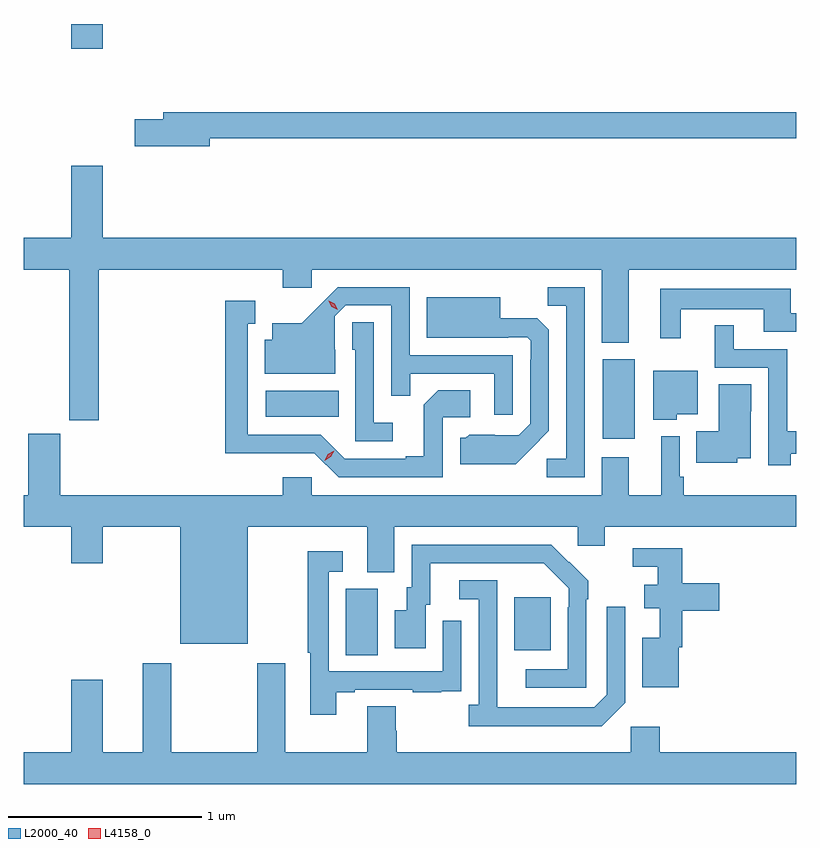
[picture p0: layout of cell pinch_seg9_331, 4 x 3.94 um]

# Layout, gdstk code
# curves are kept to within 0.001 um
import gdstk
lib = gdstk.Library(unit=1e-6, precision=1e-09)
def R(c, l, rs):  # rectangles x0, y0, x1, y1
    for r in rs: c.add(gdstk.rectangle(r[:2], r[2:], *l))
def P(c, l, *ps):  # polygons
    for p in ps: c.add(gdstk.Polygon(p, *l))
L2000_40 = (2000, 40)
L4158_0 = (4158, 0)

pinch_seg9_331 = lib.new_cell('pinch_seg9_331')
R(pinch_seg9_331, L2000_40, [(621.974,1202.416,622.138,1202.76), (622.847,1202.441,623.035,1202.716), (623.303,1203.537,623.47,1203.949), (621.558,1203.65,621.938,1203.784), (620.552,1205.556,620.716,1205.684)])
P(pinch_seg9_331, L2000_40, [(621.268,1205.092),(624.306,1205.092),(624.306,1205.228),(621.029,1205.228),(621.029,1205.192),(620.88,1205.192),(620.88,1205.05),(621.268,1205.05)],
  [(620.693,1204.412),(621.647,1204.412),(621.647,1204.317),(621.798,1204.317),(621.798,1204.412),(623.3,1204.412),(623.3,1204.034),(623.44,1204.034),(623.44,1204.412),(624.306,1204.412),(624.306,1204.576),(620.716,1204.576),(620.716,1204.951),(620.552,1204.951),(620.552,1204.576),(620.306,1204.576),(620.306,1204.412),(620.54,1204.412),(620.54,1203.633),(620.693,1203.633)],
  [(622.839,1203.969),(622.305,1203.969),(622.305,1204.32),(621.932,1204.32),(621.745,1204.135),(621.593,1204.135),(621.593,1204.048),(621.554,1204.048),(621.554,1203.872),(621.919,1203.872),(621.919,1203.996),(621.915,1203.996),(621.915,1204.17),(621.972,1204.227),(622.209,1204.227),(622.209,1203.76),(622.307,1203.76),(622.307,1203.873),(622.743,1203.873),(622.743,1203.66),(622.839,1203.66)],
  [(623.211,1204.32),(623.02,1204.32),(623.02,1204.225),(623.115,1204.225),(623.115,1203.432),(623.013,1203.432),(623.013,1203.336),(623.211,1203.336)],
  [(623.707,1204.208),(624.137,1204.208),(624.137,1204.089),(624.306,1204.089),(624.306,1204.185),(624.277,1204.185),(624.277,1204.312),(623.603,1204.312),(623.603,1204.056),(623.707,1204.056)],
  [(622.933,1203.485),(623.025,1203.578),(623.025,1204.1),(622.966,1204.159),(622.774,1204.159),(622.774,1204.27),(622.394,1204.27),(622.394,1204.058),(622.814,1204.058),(622.814,1204.062),(622.914,1204.062),(622.932,1204.044),(622.932,1203.944),(622.929,1203.944),(622.929,1203.615),(622.869,1203.555),(622.612,1203.556),(622.596,1203.54),(622.565,1203.54),(622.565,1203.404),(622.853,1203.404)],
  [(622.476,1203.648),(622.618,1203.648),(622.618,1203.788),(622.453,1203.788),(622.377,1203.712),(622.377,1203.445),(622.283,1203.445),(622.283,1203.432),(621.969,1203.432),(621.843,1203.558),(621.466,1203.558),(621.466,1204.131),(621.505,1204.131),(621.505,1204.252),(621.348,1204.252),(621.348,1203.461),(621.81,1203.462),(621.936,1203.336),(622.476,1203.336)],
  [(622.216,1203.619),(622.119,1203.619),(622.119,1204.139),(622.008,1204.139),(622.008,1203.996),(622.023,1203.996),(622.023,1203.522),(622.216,1203.522)],
  [(624.278,1203.458),(624.306,1203.458),(624.306,1203.575),(624.26,1203.575),(624.26,1203.999),(623.983,1203.999),(623.983,1204.123),(623.885,1204.123),(623.885,1203.903),(624.162,1203.903),(624.162,1203.399),(624.278,1203.399)],
  [(623.688,1203.662),(623.797,1203.662),(623.797,1203.889),(623.567,1203.889),(623.567,1203.635),(623.688,1203.635)],
  [(624,1203.434),(624.07,1203.434),(624.07,1203.678),(624.073,1203.678),(624.073,1203.818),(623.906,1203.818),(623.906,1203.574),(623.788,1203.574),(623.788,1203.413),(624,1203.413)],
  [(621.466,1203.08),(622.085,1203.08),(622.085,1202.845),(622.225,1202.845),(622.225,1203.08),(623.175,1203.08),(623.175,1202.982),(623.314,1202.982),(623.314,1203.08),(624.306,1203.08),(624.306,1203.244),(623.723,1203.244),(623.723,1203.34),(623.703,1203.34),(623.703,1203.55),(623.606,1203.55),(623.606,1203.244),(623.44,1203.244),(623.44,1203.439),(623.3,1203.439),(623.3,1203.244),(621.798,1203.244),(621.798,1203.337),(621.647,1203.337),(621.647,1203.244),(620.494,1203.244),(620.494,1203.561),(620.33,1203.561),(620.33,1203.244),(620.306,1203.244),(620.306,1203.08),(620.552,1203.08),(620.552,1202.892),(620.716,1202.892),(620.716,1203.08),(621.116,1203.08),(621.116,1202.474),(621.466,1202.474)],
  [(623.22,1202.705),(623.228,1202.705),(623.228,1202.8),(623.038,1202.988),(622.314,1202.988),(622.314,1202.766),(622.289,1202.766),(622.289,1202.647),(622.226,1202.647),(622.226,1202.451),(622.387,1202.451),(622.387,1202.676),(622.411,1202.676),(622.411,1202.892),(622.999,1202.892),(623.127,1202.763),(623.127,1202.663),(623.124,1202.663),(623.124,1202.343),(622.905,1202.343),(622.905,1202.247),(623.22,1202.247)],
  [(623.698,1202.457),(623.717,1202.457),(623.717,1202.645),(623.908,1202.645),(623.908,1202.787),(623.717,1202.787),(623.717,1202.97),(623.46,1202.97),(623.46,1202.874),(623.589,1202.874),(623.589,1202.779),(623.519,1202.779),(623.519,1202.657),(623.6,1202.657),(623.6,1202.506),(623.51,1202.506),(623.51,1202.249),(623.698,1202.249)],
  [(621.925,1202.223),(622.021,1202.223),(622.021,1202.235),(622.321,1202.235),(622.321,1202.223),(622.469,1202.223),(622.469,1202.229),(622.571,1202.229),(622.571,1202.338),(622.572,1202.338),(622.572,1202.593),(622.476,1202.593),(622.476,1202.331),(621.885,1202.331),(621.885,1202.847),(621.958,1202.847),(621.958,1202.953),(621.777,1202.953),(621.777,1202.428),(621.789,1202.428),(621.789,1202.106),(621.925,1202.106)],
  [(623.421,1202.169),(623.421,1202.665),(623.325,1202.665),(623.325,1202.211),(623.259,1202.145),(622.759,1202.145),(622.758,1202.802),(622.56,1202.802),(622.56,1202.706),(622.662,1202.706),(622.662,1202.158),(622.611,1202.158),(622.611,1202.048),(623.3,1202.048)],
  [(624.306,1201.912),(623.6,1201.912),(623.6,1202.044),(623.448,1202.044),(623.448,1201.912),(622.238,1201.912),(622.238,1202.025),(622.233,1202.025),(622.233,1202.15),(622.085,1202.15),(622.085,1201.912),(621.661,1201.912),(621.661,1202.374),(621.514,1202.374),(621.514,1201.912),(621.069,1201.912),(621.069,1202.374),(620.921,1202.374),(620.921,1201.912),(620.716,1201.912),(620.716,1202.287),(620.552,1202.287),(620.552,1201.912),(620.306,1201.912),(620.306,1201.748),(624.306,1201.748)])
P(pinch_seg9_331, L4158_0, [(621.933,1204.204),(621.902,1204.22),(621.885,1204.249),(621.885,1204.25),(621.885,1204.25),(621.916,1204.234),(621.933,1204.204),(621.933,1204.204)],
  [(621.864,1203.422),(621.864,1203.422),(621.881,1203.455),(621.913,1203.475),(621.913,1203.475),(621.913,1203.475),(621.896,1203.442),(621.864,1203.422)])

lib.write_gds('pinch_seg9_331.gds')
